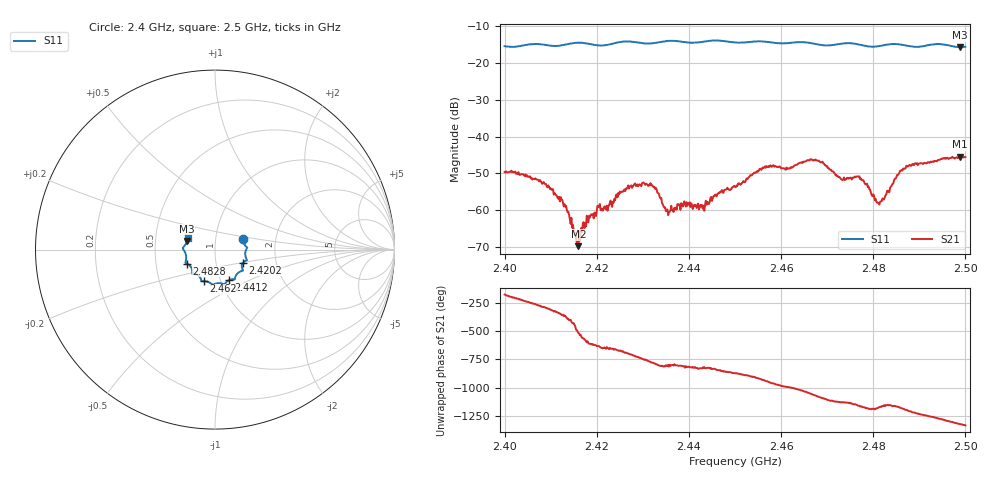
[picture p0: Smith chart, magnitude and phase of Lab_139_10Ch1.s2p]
# Hz S RI R 50
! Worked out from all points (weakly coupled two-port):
!   601 points, 2.4 GHz to 2.5 GHz, reference 50 ohm
!   highest |S21| = -45.48 dB at 2.4988 GHz (marker M1); lowest = -69.7 dB at 2.416 GHz (marker M2)
!   lowest |S11| = -15.8 dB at 2.4988 GHz (marker M3), VSWR 1.39, Z = 36.3 + j3.42 ohm
!   |S11| at or under -10 dB: start of sweep to end of sweep
!   S12 and S22 are empty: the file has one direction only
!   S11 on the Smith chart (normalised r, x): 2.4 GHz: 1.36, +0.17; 2.4202 GHz: 1.35, -0.20; 2.4412 GHz: 1.09, -0.39; 2.462 GHz: 0.83, -0.30; 2.4828 GHz: 0.72, -0.12; 2.5 GHz: 0.73, +0.09
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2.4e9  0.157 0.0606  -0.0033 -0.000145  0 0  0 0
2.41e9  0.1707 -0.00737  0.00129 0.0015  0 0  0 0
2.412833e9  0.1704 -0.0389  0.00112 -0.000166  0 0  0 0
2.416e9  0.1782 -0.0582  -0.0003 -0.00013  0 0  0 0
2.416667e9  0.1775 -0.0593  -0.000569 0.000118  0 0  0 0
2.420167e9  0.1567 -0.0722  6.67e-05 0.00115  0 0  0 0
2.427833e9  0.1524 -0.1181  0.00212 0.000176  0 0  0 0
2.433333e9  0.1128 -0.1522  0.000272 -0.00168  0 0  0 0
2.4355e9  0.1104 -0.1648  0.000147 -0.000848  0 0  0 0
2.441167e9  0.0757 -0.1714  -0.000254 -0.00116  0 0  0 0
2.45e9  0.0272 -0.1867  -0.00187 -0.000943  0 0  0 0
2.4565e9  -0.0167 -0.1933  -0.00305 0.00248  0 0  0 0
2.462e9  -0.0613 -0.1761  0.000688 0.00369  0 0  0 0
2.466667e9  -0.0774 -0.1671  0.00453 0.00187  0 0  0 0
2.473e9  -0.1203 -0.1355  0.00166 -0.00209  0 0  0 0
2.476833e9  -0.1258 -0.1251  0.00049 -0.00283  0 0  0 0
2.480833e9  -0.1423 -0.0872  -0.00028 -0.00124  0 0  0 0
2.482833e9  -0.1578 -0.0778  0.000346 -0.0016  0 0  0 0
2.483333e9  -0.1605 -0.0765  0.000398 -0.00173  0 0  0 0
2.4875e9  -0.1608 -0.0544  -0.0021 -0.00331  0 0  0 0
2.498833e9  -0.1563 0.0458  -0.00243 0.00474  0 0  0 0
2.5e9  -0.1531 0.0619  -0.00137 0.00512  0 0  0 0
